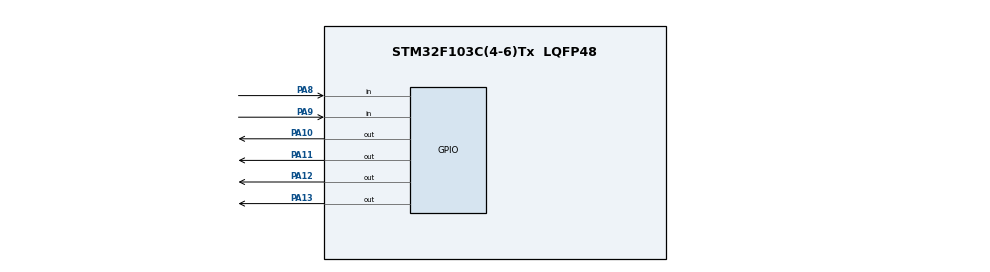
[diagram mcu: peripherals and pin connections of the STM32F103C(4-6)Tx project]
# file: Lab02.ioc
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Mcu.Family=STM32F1
Mcu.Name=STM32F103C(4-6)Tx
Mcu.Package=LQFP48
NVIC.PriorityGroup=NVIC_PRIORITYGROUP_4
PA10.Signal=GPIO_Output
PA11.Signal=GPIO_Output
PA12.Signal=GPIO_Output
PA13.Signal=GPIO_Output
PA8.Signal=GPIO_Input
PA9.Signal=GPIO_Input
ProjectManager.HeapSize=0x200
ProjectManager.StackSize=0x400
ProjectManager.TargetToolchain=STM32CubeIDE
RCC.APB1Freq_Value=8000000
RCC.APB2Freq_Value=8000000
VP_SYS_VS_ND.Mode=No_Debug
board=custom

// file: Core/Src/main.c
/* USER CODE BEGIN Header */
/**
  ******************************************************************************
  * @file           : main.c
  * @brief          : Main program body
  ******************************************************************************
  * @attention
  *
  * Copyright (c) 2021 STMicroelectronics.
  * All rights reserved.
  *
  * This software is licensed under terms that can be found in the LICENSE file
  * in the root directory of this software component.
  * If no LICENSE file comes with this software, it is provided AS-IS.
  *
  ******************************************************************************
  */
/* USER CODE END Header */
#include "main.h"
#include "gpio.h"

/* USER CODE BEGIN PV */
int a = 0;
int b = -1;
/* USER CODE END PV */

void SystemClock_Config(void);

int main(void)
{

  /* MCU Configuration--------------------------------------------------------*/

  /* Reset of all peripherals, Initializes the Flash interface and the Systick. */
  HAL_Init();

  /* Configure the system clock */
  SystemClock_Config();

  /* Initialize all configured peripherals */
  MX_GPIO_Init();

  /* Infinite loop */
  while (1)
  {

    /* USER CODE BEGIN 3 */
	  int isButtonPressed = 0;
  	  if(HAL_GPIO_ReadPin (GPIOA, GPIO_PIN_8) == GPIO_PIN_SET)
  	  {
  		  a++;
  		  if (a == 5)
  		  {
  			  a = 1;
  		  }
  		  isButtonPressed = 1;
  	  } else if(HAL_GPIO_ReadPin (GPIOA, GPIO_PIN_9) == GPIO_PIN_SET)
  	  {
  		  b++;
  		  if (b==6)
  		  {
  			  b = 0;
  		  }
  	  }

  	  HAL_Delay (500);

  	  if (isButtonPressed)
  	  {
  		  switch (a)
  		  {
  		  	  case 1:
  		  		  HAL_GPIO_WritePin(GPIOA, GPIO_PIN_10, GPIO_PIN_SET);
  		  		  HAL_GPIO_WritePin(GPIOA, GPIO_PIN_13, GPIO_PIN_RESET);
  		  		  break;

  		  	  case 2:
  		  		  HAL_GPIO_WritePin(GPIOA, GPIO_PIN_11, GPIO_PIN_SET);
  		  		  HAL_GPIO_WritePin(GPIOA, GPIO_PIN_10, GPIO_PIN_RESET);
  		  		  break;

  		  	  case 3:
  		  		  HAL_GPIO_WritePin(GPIOA, GPIO_PIN_12, GPIO_PIN_SET);
  		  		  HAL_GPIO_WritePin(GPIOA, GPIO_PIN_11, GPIO_PIN_RESET);
  		  		  break;

  		  	  case 4:
  		  		  HAL_GPIO_WritePin(GPIOA, GPIO_PIN_13, GPIO_PIN_SET);
  		  		  HAL_GPIO_WritePin(GPIOA, GPIO_PIN_12, GPIO_PIN_RESET);
  		  		  break;
  		  }
  	  } else
  	  {
  		  switch (b)
  		  {
  		  	  case 1:
  		  		  HAL_GPIO_WritePin(GPIOA, GPIO_PIN_10, GPIO_PIN_SET);
  		  		  break;

  		  	  case 2:
  		  		  HAL_GPIO_WritePin(GPIOA, GPIO_PIN_11, GPIO_PIN_SET);
  		  		  break;

  		  	  case 3:
  		  		  HAL_GPIO_WritePin(GPIOA, GPIO_PIN_12, GPIO_PIN_SET);
  		  		  break;

  		  	  case 4:
  		  		  HAL_GPIO_WritePin(GPIOA, GPIO_PIN_13, GPIO_PIN_SET);
  		  		  break;

  		  	  case 5:
  		  		  HAL_GPIO_WritePin(GPIOA, GPIO_PIN_10, GPIO_PIN_RESET);
  			  	  HAL_GPIO_WritePin(GPIOA, GPIO_PIN_11, GPIO_PIN_RESET);
  			  	  HAL_GPIO_WritePin(GPIOA, GPIO_PIN_12, GPIO_PIN_RESET);
  			  	  HAL_GPIO_WritePin(GPIOA, GPIO_PIN_13, GPIO_PIN_RESET);
  			  	  break;
  		  }
  	  }
  }
  /* USER CODE END 3 */
}

void SystemClock_Config(void)
{
  RCC_OscInitTypeDef RCC_OscInitStruct = {0};
  RCC_ClkInitTypeDef RCC_ClkInitStruct = {0};

  /** Initializes the RCC Oscillators according to the specified parameters
  * in the RCC_OscInitTypeDef structure.
  */
  RCC_OscInitStruct.OscillatorType = RCC_OSCILLATORTYPE_HSI;
  RCC_OscInitStruct.HSIState = RCC_HSI_ON;
  RCC_OscInitStruct.HSICalibrationValue = RCC_HSICALIBRATION_DEFAULT;
  RCC_OscInitStruct.PLL.PLLState = RCC_PLL_NONE;
  if (HAL_RCC_OscConfig(&RCC_OscInitStruct) != HAL_OK)
  {
    Error_Handler();
  }
  /** Initializes the CPU, AHB and APB buses clocks
  */
  RCC_ClkInitStruct.ClockType = RCC_CLOCKTYPE_HCLK|RCC_CLOCKTYPE_SYSCLK
                              |RCC_CLOCKTYPE_PCLK1|RCC_CLOCKTYPE_PCLK2;
  RCC_ClkInitStruct.SYSCLKSource = RCC_SYSCLKSOURCE_HSI;
  RCC_ClkInitStruct.AHBCLKDivider = RCC_SYSCLK_DIV1;
  RCC_ClkInitStruct.APB1CLKDivider = RCC_HCLK_DIV1;
  RCC_ClkInitStruct.APB2CLKDivider = RCC_HCLK_DIV1;

  if (HAL_RCC_ClockConfig(&RCC_ClkInitStruct, FLASH_LATENCY_0) != HAL_OK)
  {
    Error_Handler();
  }
}

void Error_Handler(void)
{
  __disable_irq();
  while (1)
  {
  }
}
